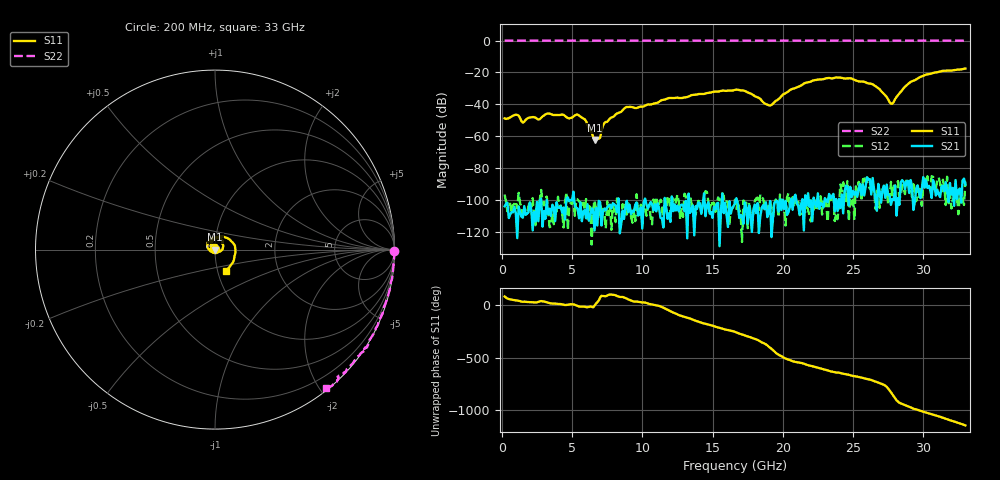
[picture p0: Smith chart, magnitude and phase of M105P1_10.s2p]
# GHZ S RI R 50
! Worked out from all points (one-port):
!   329 points, 200 MHz to 33 GHz, reference 50 ohm
!   lowest |S11| = -62.3 dB at 6.6 GHz (marker M1), VSWR 1.00, Z = 50.1 - j0.00502 ohm
!   |S11| at or under -10 dB: start of sweep to end of sweep
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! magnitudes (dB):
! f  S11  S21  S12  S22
! 200 MHz  -48.8  -103.9  -96.5  0.0
! 1.1 GHz  -46.6  -123.8  -105.2  0.0
! 1.5 GHz  -51.4  -111.0  -111.6  0.0
! 3.3 GHz  -45.7  -108.9  -106.0  0.0
! 5.7 GHz  -48.3  -113.2  -104.4  0.0
! 6.6 GHz  -62.3  -119.0  -100.1  0.0
! 7 GHz  -60.9  -101.2  -102.6  0.0
! 7.3 GHz  -51.7  -105.3  -108.8  0.0
! 8.8 GHz  -42.0  -104.6  -102.7  0.0
! 11.2 GHz  -38.3  -105.3  -102.0  0.0
! 16.6 GHz  -30.9  -101.9  -99.7  0.0
! 19.1 GHz  -40.8  -100.5  -100.7  0.0
! 20.5 GHz  -31.1  -104.3  -103.7  0.0
! 22.1 GHz  -25.3  -113.2  -106.2  0.0
! 23.8 GHz  -23.1  -99.3  -108.5  0.0
! 25.8 GHz  -25.9  -97.1  -85.0  -0.1
! 26.8 GHz  -29.8  -89.8  -92.0  0.0
! 27.6 GHz  -38.5  -97.1  -100.6  -0.1
! 27.8 GHz  -39.6  -99.3  -97.0  -0.1
! 28.7 GHz  -29.0  -93.2  -96.3  0.0
! 29.8 GHz  -22.8  -98.8  -91.4  -0.1
! 33 GHz  -17.6  -90.3  -88.3  -0.1
